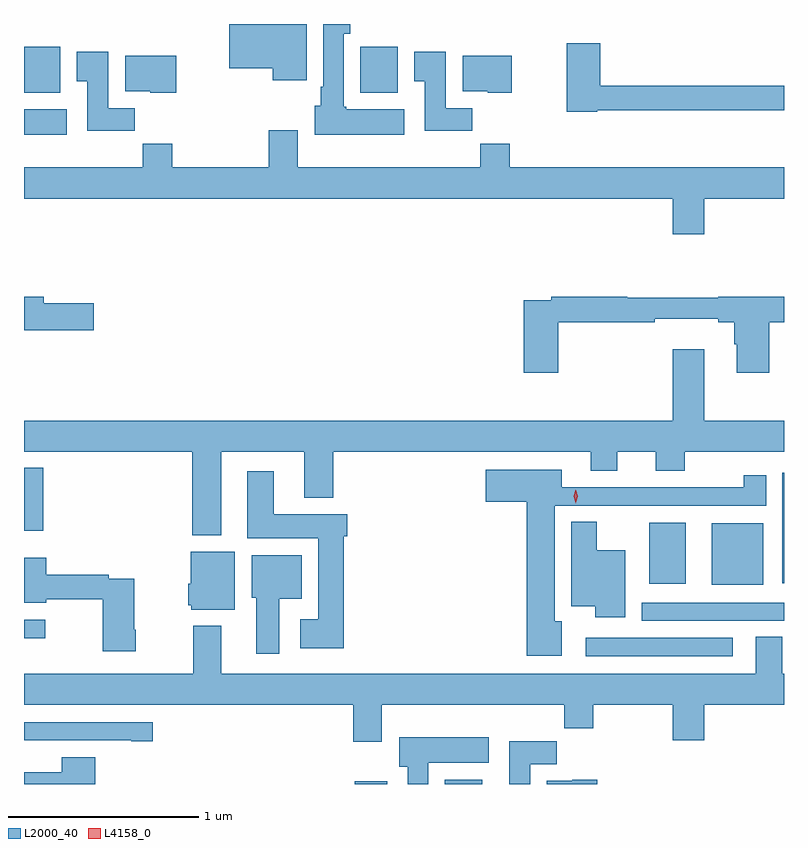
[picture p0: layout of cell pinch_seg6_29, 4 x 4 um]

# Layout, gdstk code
import gdstk
lib = gdstk.Library(unit=1e-6, precision=1e-09)
def R(c, l, rs):  # rectangles x0, y0, x1, y1
    for r in rs: c.add(gdstk.rectangle(r[:2], r[2:], *l))
def P(c, l, *ps):  # polygons
    for p in ps: c.add(gdstk.Polygon(p, *l))
L2000_40 = (2000, 40)
L4158_0 = (4158, 0)

pinch_seg6_29 = lib.new_cell('pinch_seg6_29')
R(pinch_seg6_29, L2000_40, [(978.518,957.575,978.688,957.589), (978.992,957.575,979.189,957.598), (979.734,958.248,980.506,958.344), (976.777,958.343,976.888,958.44), (980.028,958.434,980.777,958.53), (980.396,958.625,980.668,958.948), (980.069,958.628,980.26,958.951), (980.768,958.631,980.777,959.212), (976.777,958.907,976.877,959.239), (976.777,960.992,977.002,961.126), (976.777,961.214,976.969,961.456), (978.548,961.214,978.745,961.456), (976.853,961.574,977.558,961.575), (978.629,961.574,979.334,961.575)])
P(pinch_seg6_29, L2000_40, [(978.778,961.126),(978.474,961.126),(978.474,961.14),(978.46,961.14),(978.46,961.523),(978.493,961.523),(978.493,961.575),(978.353,961.575),(978.353,961.246),(978.338,961.246),(978.338,961.146),(978.308,961.146),(978.308,960.992),(978.778,960.992)],
  [(978.265,961.575),(977.857,961.575),(977.857,961.343),(978.086,961.343),(978.086,961.28),(978.265,961.28)],
  [(979.794,961.122),(980.777,961.122),(980.777,961.25),(979.811,961.25),(979.811,961.474),(979.633,961.474),(979.633,961.114),(979.794,961.114)],
  [(979.136,961.132),(978.997,961.132),(978.997,961.429),(978.83,961.429),(978.83,961.273),(978.887,961.273),(978.887,961.014),(979.136,961.014)],
  [(977.36,961.132),(977.221,961.132),(977.221,961.429),(977.054,961.429),(977.054,961.273),(977.111,961.273),(977.111,961.014),(977.36,961.014)],
  [(977.578,961.408),(977.309,961.408),(977.309,961.22),(977.442,961.22),(977.442,961.214),(977.578,961.214)],
  [(979.344,961.408),(979.085,961.408),(979.085,961.22),(979.218,961.22),(979.218,961.214),(979.344,961.214)],
  [(980.356,960.656),(980.777,960.656),(980.777,960.82),(979.334,960.82),(979.334,960.944),(979.177,960.944),(979.177,960.82),(978.217,960.82),(978.217,961.015),(978.065,961.015),(978.065,960.82),(977.558,960.82),(977.558,960.944),(977.401,960.944),(977.401,960.82),(976.777,960.82),(976.777,960.656),(980.192,960.656),(980.192,960.468),(980.356,960.468)],
  [(979.589,960.004),(980.096,960.004),(980.096,960.023),(980.432,960.023),(980.432,960.004),(980.516,960.004),(980.516,959.889),(980.528,959.889),(980.528,959.739),(980.699,959.739),(980.699,960.004),(980.777,960.004),(980.777,960.14),(980.432,960.14),(980.432,960.133),(979.952,960.133),(979.952,960.14),(979.552,960.14),(979.552,960.12),(979.406,960.12),(979.406,959.739),(979.589,959.739)],
  [(977.143,960.104),(976.882,960.104),(976.882,960.14),(976.777,960.14),(976.777,959.962),(977.143,959.962)],
  [(977.815,959.324),(978.251,959.324),(978.251,959.081),(978.404,959.081),(978.404,959.324),(979.76,959.324),(979.76,959.225),(979.9,959.225),(979.9,959.324),(980.102,959.324),(980.102,959.225),(980.255,959.225),(980.255,959.324),(980.777,959.324),(980.777,959.488),(980.356,959.488),(980.356,959.863),(980.192,959.863),(980.192,959.488),(976.777,959.488),(976.777,959.324),(977.663,959.324),(977.663,958.883),(977.815,958.883)],
  [(979.606,958.432),(979.57,958.432),(979.57,959.04),(980.683,959.04),(980.683,959.2),(980.566,959.2),(980.566,959.138),(980.338,959.138),(980.338,959.136),(979.606,959.136),(979.606,959.23),(979.206,959.23),(979.206,959.06),(979.424,959.06),(979.424,958.25),(979.606,958.25)],
  [(978.461,958.878),(978.479,958.878),(978.479,958.996),(978.091,958.996),(978.091,959.221),(977.951,959.221),(977.951,958.868),(978.326,958.868),(978.326,958.441),(978.231,958.441),(978.231,958.289),(978.461,958.289)],
  [(979.942,958.804),(979.792,958.804),(979.792,958.955),(979.658,958.955),(979.658,958.511),(979.784,958.511),(979.784,958.452),(979.942,958.452)],
  [(977.887,958.798),(977.654,958.798),(977.654,958.629),(977.642,958.629),(977.642,958.515),(977.658,958.515),(977.658,958.493),(977.887,958.493)],
  [(978.121,958.55),(978.238,958.55),(978.238,958.78),(977.975,958.78),(977.975,958.554),(977.999,958.554),(977.999,958.26),(978.121,958.26)],
  [(977.364,958.387),(977.356,958.387),(977.356,958.656),(977.222,958.656),(977.222,958.676),(976.894,958.676),(976.894,958.765),(976.777,958.765),(976.777,958.529),(976.894,958.529),(976.894,958.548),(977.191,958.548),(977.191,958.275),(977.364,958.275)],
  [(978.661,957.992),(979.621,957.992),(979.621,957.868),(979.773,957.868),(979.773,957.992),(980.192,957.992),(980.192,957.804),(980.356,957.804),(980.356,957.992),(980.777,957.992),(980.777,958.156),(980.767,958.156),(980.767,958.349),(980.627,958.349),(980.627,958.156),(977.815,958.156),(977.815,958.408),(977.668,958.408),(977.668,958.156),(976.777,958.156),(976.777,957.992),(978.509,957.992),(978.509,957.798),(978.661,957.798)],
  [(977.455,957.9),(976.777,957.9),(976.777,957.804),(977.342,957.804),(977.342,957.799),(977.455,957.799)],
  [(978.904,957.686),(979.222,957.686),(979.222,957.82),(978.752,957.82),(978.752,957.666),(978.797,957.666),(978.797,957.575),(978.904,957.575)],
  [(979.441,957.68),(979.58,957.68),(979.58,957.799),(979.331,957.799),(979.331,957.575),(979.441,957.575)],
  [(977.152,957.715),(976.976,957.715),(976.976,957.636),(976.777,957.636),(976.777,957.575),(977.152,957.575)],
  [(979.793,957.598),(979.662,957.598),(979.662,957.592),(979.529,957.592),(979.529,957.575),(979.793,957.575)])
P(pinch_seg6_29, L4158_0, [(979.68,959.053),(979.68,959.054),(979.671,959.089),(979.681,959.124),(979.681,959.124),(979.681,959.124),(979.691,959.089),(979.681,959.054)])

lib.write_gds('pinch_seg6_29.gds')
